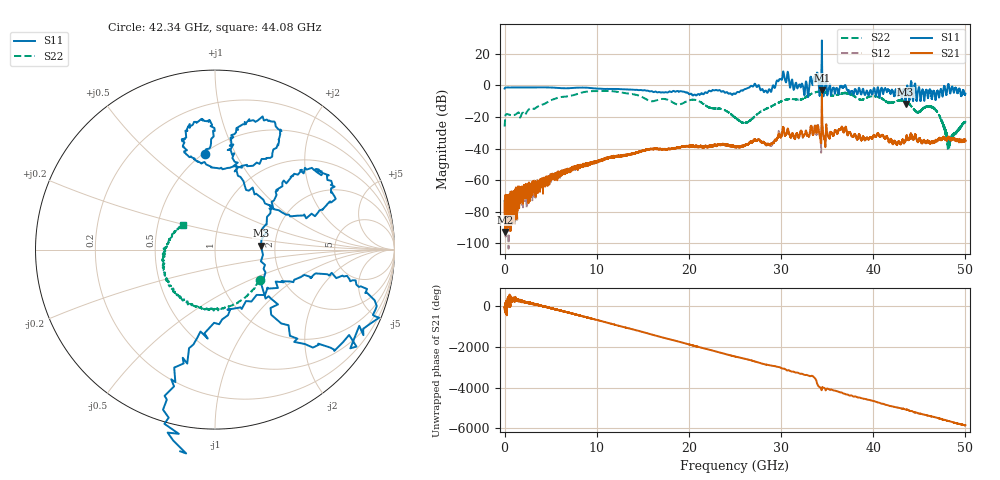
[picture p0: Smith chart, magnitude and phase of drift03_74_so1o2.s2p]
!Created with skrf (http://scikit-rf.org).
# Hz S RI R 50.0
!freq ReS11 ImS11 ReS21 ImS21 ReS12 ImS12 ReS22 ImS22
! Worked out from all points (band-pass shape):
!   10000 points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, 5.3 MHz to 50 GHz, reference 50 ohm
!   highest |S21| = -3.19 dB at 34.43 GHz (marker M1); lowest = -92.8 dB at 75.3 MHz (marker M2)
!   |S21| within 3 dB of the highest: 34.42733 GHz to 34.43505 GHz (7.721 MHz wide, 0.0224 % of centre)
!   lowest |S11| = -11.8 dB at 43.52 GHz (marker M3), VSWR 1.70, Z = 84.5 + j4.07 ohm
!   |S11| at or under -10 dB: 43.48887 GHz to 43.55056 GHz (61.69 MHz wide, 0.142 % of centre); 44.32386 GHz to 44.32799 GHz (4.126 MHz wide, 0.00931 % of centre)
!   |S22| runs from -41.0 to -3.6 dB; largest |S21 - S12| = 0.21
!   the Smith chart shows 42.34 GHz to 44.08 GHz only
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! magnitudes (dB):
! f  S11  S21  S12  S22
! 5.3 MHz  -2.1  -75.1  -87.5  -26.1
! 75.3 MHz  -1.5  -92.8  -73.5  -19.6
! 2.72 GHz  -1.4  -66.2  -63.0  -14.9
! 8.34 GHz  -1.5  -50.9  -50.4  -4.7
! 16.67 GHz  -4.4  -40.3  -40.1  -9.2
! 20.74 GHz  -6.3  -38.4  -38.6  -9.4
! 25.01 GHz  -5.5  -39.0  -39.2  -20.5
! 26.22 GHz  -2.2  -37.1  -37.5  -23.6
! 27.37 GHz  -1.1  -35.0  -34.7  -18.6
! 28.72 GHz  -2.5  -37.6  -37.3  -14.1
! 30.14 GHz  4.5  -29.5  -29.7  -9.9
! 32.74 GHz  2.0  -29.5  -29.2  -7.3
! 33.34 GHz  2.6  -27.6  -27.9  -5.2
! 33.82 GHz  4.0  -29.1  -29.5  -4.3
! 34.43 GHz  28.3  -3.2  -5.1  -3.9
! 36.48 GHz  -0.5  -28.1  -27.9  -5.3
! 41.67 GHz  -2.8  -35.5  -35.6  -10.8
! 43.52 GHz  -11.8  -34.4  -34.5  -10.4
! 44.78 GHz  -6.8  -34.9  -35.0  -17.2
! 46.67 GHz  -5.4  -35.1  -35.6  -15.0
! 48.22 GHz  -0.4  -32.5  -33.2  -35.9
! 50 GHz  -5.3  -35.3  -34.6  -23.2
